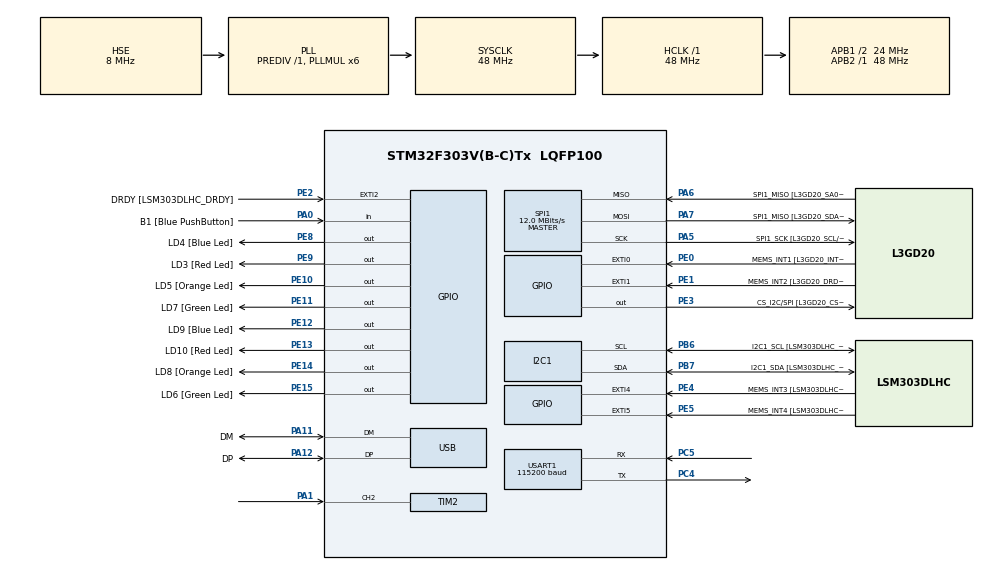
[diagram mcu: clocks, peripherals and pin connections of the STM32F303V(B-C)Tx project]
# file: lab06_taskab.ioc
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I2C1.Timing=0x00201D2B
I2C1.Timing-I2C=0x2000090E
Mcu.Family=STM32F3
Mcu.Name=STM32F303V(B-C)Tx
Mcu.Package=LQFP100
NVIC.PriorityGroup=NVIC_PRIORITYGROUP_0
NVIC.TIM2_IRQn=true\:0\:0\:false\:false\:true\:true\:true\:true
NVIC.USB_LP_CAN_RX0_IRQn=true\:0\:0\:false\:false\:true\:false\:true\:true
PA0.GPIO_Label=B1 [Blue PushButton]
PA0.Signal=GPIO_Input
PA1.GPIO_PuPd=GPIO_PULLUP
PA1.Signal=S_TIM2_CH2
PA11.GPIO_Label=DM
PA11.Mode=Device
PA11.Signal=USB_DM
PA12.GPIO_Label=DP
PA12.Mode=Device
PA12.Signal=USB_DP
PA13.GPIO_Label=SWDIO
PA13.Mode=Serial_Wire
PA13.Signal=SYS_JTMS-SWDIO
PA14.GPIO_Label=SWCLK
PA14.Mode=Serial_Wire
PA14.Signal=SYS_JTCK-SWCLK
PA5.GPIO_Label=SPI1_SCK [L3GD20_SCL/SPC]
PA5.Mode=Full_Duplex_Master
PA5.Signal=SPI1_SCK
PA6.GPIO_Label=SPI1_MISO [L3GD20_SA0/SDO]
PA6.Mode=Full_Duplex_Master
PA6.Signal=SPI1_MISO
PA7.GPIO_Label=SPI1_MISO [L3GD20_SDA/SDI/SDO]
PA7.Mode=Full_Duplex_Master
PA7.Signal=SPI1_MOSI
PB3.GPIO_Label=SWO
PB3.Signal=SYS_JTDO-TRACESWO
PB6.GPIO_Label=I2C1_SCL [LSM303DLHC_SCL]
PB6.GPIO_Pu=GPIO_PULLUP
PB6.Mode=I2C
PB6.Signal=I2C1_SCL
PB7.GPIO_Label=I2C1_SDA [LSM303DLHC_SDA]
PB7.GPIO_Pu=GPIO_PULLUP
PB7.Mode=I2C
PB7.Signal=I2C1_SDA
PC14-OSC32_IN.GPIO_Label=OSC32_IN
PC14-OSC32_IN.Signal=RCC_OSC32_IN
PC15-OSC32_OUT.GPIO_Label=OSC32_OUT
PC15-OSC32_OUT.Signal=RCC_OSC32_OUT
PC4.Mode=Asynchronous
PC4.Signal=USART1_TX
PC5.Mode=Asynchronous
PC5.Signal=USART1_RX
PE0.GPIO_Label=MEMS_INT1 [L3GD20_INT1]
PE0.GPIO_ModeDefaultEXTI=GPIO_MODE_EVT_RISING
PE0.Signal=GPXTI0
PE1.GPIO_Label=MEMS_INT2 [L3GD20_DRDY/INT2]
PE1.GPIO_ModeDefaultEXTI=GPIO_MODE_EVT_RISING
PE1.Signal=GPXTI1
PE10.GPIO_Label=LD5 [Orange Led]
PE10.Signal=GPIO_Output
PE11.GPIO_Label=LD7 [Green Led]
PE11.Signal=GPIO_Output
PE12.GPIO_Label=LD9 [Blue Led]
PE12.Signal=GPIO_Output
PE13.GPIO_Label=LD10 [Red Led]
PE13.Signal=GPIO_Output
PE14.GPIO_Label=LD8 [Orange Led]
PE14.Signal=GPIO_Output
PE15.GPIO_Label=LD6 [Green Led]
PE15.Signal=GPIO_Output
PE2.GPIO_Label=DRDY [LSM303DLHC_DRDY]
PE2.GPIO_ModeDefaultEXTI=GPIO_MODE_EVT_RISING
PE2.Signal=GPXTI2
PE3.GPIO_Label=CS_I2C/SPI [L3GD20_CS_I2C/SPI]
PE3.Signal=GPIO_Output
PE4.GPIO_Label=MEMS_INT3 [LSM303DLHC_INT1]
PE4.GPIO_ModeDefaultEXTI=GPIO_MODE_EVT_RISING
PE4.Signal=GPXTI4
PE5.GPIO_Label=MEMS_INT4 [LSM303DLHC_INT2]
PE5.GPIO_ModeDefaultEXTI=GPIO_MODE_EVT_RISING
PE5.Signal=GPXTI5
PE8.GPIO_Label=LD4 [Blue Led]
PE8.Signal=GPIO_Output
PE9.GPIO_Label=LD3 [Red Led]
PE9.Signal=GPIO_Output
PF0-OSC_IN.GPIO_Label=OSC_IN
PF0-OSC_IN.Mode=HSE-External-Clock-Source
PF0-OSC_IN.Signal=RCC_OSC_IN
PF1-OSC_OUT.GPIO_Label=OSC_OUT
PF1-OSC_OUT.Signal=RCC_OSC_OUT
ProjectManager.HeapSize=0x200
ProjectManager.StackSize=0x400
ProjectManager.TargetToolchain=CMake
RCC.AHBFreq_Value=48000000
RCC.APB1CLKDivider=RCC_HCLK_DIV2
RCC.APB1Freq_Value=24000000
RCC.APB1TimFreq_Value=48000000
RCC.APB2Freq_Value=48000000
RCC.APB2TimFreq_Value=48000000
RCC.CortexFreq_Value=48000000
RCC.HCLKFreq_Value=48000000
RCC.HSE_VALUE=8000000
RCC.HSI_VALUE=8000000
RCC.LSE_VALUE=32768
RCC.PLLMUL=RCC_PLL_MUL6
RCC.SYSCLKFreq_VALUE=48000000
RCC.SYSCLKSourceVirtual=RCC_SYSCLKSOURCE_PLLCLK
RCC.USBFreq_Value=48000000
SH.S_TIM2_CH2.0=TIM2_CH2,Input_Capture2_from_TI2
SPI1.BaudRatePrescaler=SPI_BAUDRATEPRESCALER_4
SPI1.BaudRatePrescaler-Full_Duplex_Master=SPI_BAUDRATEPRESCALER_2
SPI1.CalculateBaudRate=12.0 MBits/s
SPI1.CalculateBaudRate-Full_Duplex_Master=24.0 MBits/s
SPI1.Direction=SPI_DIRECTION_2LINES
SPI1.Mode=SPI_MODE_MASTER
SPI1.Mode-Full_Duplex_Master=SPI_MODE_MASTER
SPI1.VirtualType=VM_MASTER
TIM2.Channel-Input_Capture2_from_TI2=TIM_CHANNEL_2
TIM2.Prescaler=47
USART1.BaudRate=115200
USART1.VirtualMode-Asynchronous=VM_ASYNC
USB_DEVICE.CLASS_NAME_FS=CDC
USB_DEVICE.VirtualMode=Cdc
USB_DEVICE.VirtualModeFS=Cdc_FS
VP_USB_DEVICE_VS_USB_DEVICE_CDC_FS.Mode=CDC_FS
board=STM32F3DISCOVERY

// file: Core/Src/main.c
/* USER CODE BEGIN Header */
/**
  ******************************************************************************
  * @file           : main.c
  * @brief          : Main program body
  ******************************************************************************
  * @attention
  *
  * Copyright (c) 2025 STMicroelectronics.
  * All rights reserved.
  *
  * This software is licensed under terms that can be found in the LICENSE file
  * in the root directory of this software component.
  * If no LICENSE file comes with this software, it is provided AS-IS.
  *
  ******************************************************************************
  */
/* USER CODE END Header */
#include "main.h"
#include "usb_device.h"

I2C_HandleTypeDef hi2c1;

SPI_HandleTypeDef hspi1;

TIM_HandleTypeDef htim2;

UART_HandleTypeDef huart1;

/* USER CODE BEGIN PV */
uint32_t IC_Value1 = 0;
uint32_t IC_Value2 = 0;
uint32_t Difference = 0;
uint8_t Is_First_Captured = 0;
float Frequency = 0;
char msg[50];
/* USER CODE END PV */

void SystemClock_Config(void);
static void MX_GPIO_Init(void);
static void MX_I2C1_Init(void);
static void MX_SPI1_Init(void);
static void MX_TIM2_Init(void);
static void MX_USART1_UART_Init(void);

int main(void)
{

  /* MCU Configuration--------------------------------------------------------*/

  /* Reset of all peripherals, Initializes the Flash interface and the Systick. */
  HAL_Init();

  /* Configure the system clock */
  SystemClock_Config();MX_GPIO_Init();
  MX_I2C1_Init();
  MX_SPI1_Init();
  MX_TIM2_Init();
  MX_USART1_UART_Init();
  MX_USB_DEVICE_Init();
  /* USER CODE BEGIN 2 */
  HAL_TIM_IC_Start_IT(&htim2, TIM_CHANNEL_2);

  /* USER CODE END 2 */

  /* Infinite loop */
  while (1)
  {
    if (Frequency > 0)
    {
      snprintf(msg, sizeof(msg), "Frequency = %.2f Hz\r\n", Frequency);
      HAL_UART_Transmit(&huart1, (uint8_t*)msg, strlen(msg), HAL_MAX_DELAY);
      Frequency = 0;
    }
  }
}

void SystemClock_Config(void)
{
  RCC_OscInitTypeDef RCC_OscInitStruct = {0};
  RCC_ClkInitTypeDef RCC_ClkInitStruct = {0};
  RCC_PeriphCLKInitTypeDef PeriphClkInit = {0};

  /** Initializes the RCC Oscillators according to the specified parameters
  * in the RCC_OscInitTypeDef structure.
  */
  RCC_OscInitStruct.OscillatorType = RCC_OSCILLATORTYPE_HSI|RCC_OSCILLATORTYPE_HSE;
  RCC_OscInitStruct.HSEState = RCC_HSE_BYPASS;
  RCC_OscInitStruct.HSEPredivValue = RCC_HSE_PREDIV_DIV1;
  RCC_OscInitStruct.HSIState = RCC_HSI_ON;
  RCC_OscInitStruct.HSICalibrationValue = RCC_HSICALIBRATION_DEFAULT;
  RCC_OscInitStruct.PLL.PLLState = RCC_PLL_ON;
  RCC_OscInitStruct.PLL.PLLSource = RCC_PLLSOURCE_HSE;
  RCC_OscInitStruct.PLL.PLLMUL = RCC_PLL_MUL6;
  if (HAL_RCC_OscConfig(&RCC_OscInitStruct) != HAL_OK)
  {
    Error_Handler();
  }

  /** Initializes the CPU, AHB and APB buses clocks
  */
  RCC_ClkInitStruct.ClockType = RCC_CLOCKTYPE_HCLK|RCC_CLOCKTYPE_SYSCLK
                              |RCC_CLOCKTYPE_PCLK1|RCC_CLOCKTYPE_PCLK2;
  RCC_ClkInitStruct.SYSCLKSource = RCC_SYSCLKSOURCE_PLLCLK;
  RCC_ClkInitStruct.AHBCLKDivider = RCC_SYSCLK_DIV1;
  RCC_ClkInitStruct.APB1CLKDivider = RCC_HCLK_DIV2;
  RCC_ClkInitStruct.APB2CLKDivider = RCC_HCLK_DIV1;

  if (HAL_RCC_ClockConfig(&RCC_ClkInitStruct, FLASH_LATENCY_1) != HAL_OK)
  {
    Error_Handler();
  }
  PeriphClkInit.PeriphClockSelection = RCC_PERIPHCLK_USB|RCC_PERIPHCLK_USART1
                              |RCC_PERIPHCLK_I2C1;
  PeriphClkInit.Usart1ClockSelection = RCC_USART1CLKSOURCE_PCLK2;
  PeriphClkInit.I2c1ClockSelection = RCC_I2C1CLKSOURCE_HSI;
  PeriphClkInit.USBClockSelection = RCC_USBCLKSOURCE_PLL;
  if (HAL_RCCEx_PeriphCLKConfig(&PeriphClkInit) != HAL_OK)
  {
    Error_Handler();
  }
}

static void MX_I2C1_Init(void)
{

  hi2c1.Instance = I2C1;
  hi2c1.Init.Timing = 0x00201D2B;
  hi2c1.Init.OwnAddress1 = 0;
  hi2c1.Init.AddressingMode = I2C_ADDRESSINGMODE_7BIT;
  hi2c1.Init.DualAddressMode = I2C_DUALADDRESS_DISABLE;
  hi2c1.Init.OwnAddress2 = 0;
  hi2c1.Init.OwnAddress2Masks = I2C_OA2_NOMASK;
  hi2c1.Init.GeneralCallMode = I2C_GENERALCALL_DISABLE;
  hi2c1.Init.NoStretchMode = I2C_NOSTRETCH_DISABLE;
  if (HAL_I2C_Init(&hi2c1) != HAL_OK)
  {
    Error_Handler();
  }

  /** Configure Analogue filter
  */
  if (HAL_I2CEx_ConfigAnalogFilter(&hi2c1, I2C_ANALOGFILTER_ENABLE) != HAL_OK)
  {
    Error_Handler();
  }

  /** Configure Digital filter
  */
  if (HAL_I2CEx_ConfigDigitalFilter(&hi2c1, 0) != HAL_OK)
  {
    Error_Handler();
  }

}

static void MX_SPI1_Init(void)
{

  /* SPI1 parameter configuration*/
  hspi1.Instance = SPI1;
  hspi1.Init.Mode = SPI_MODE_MASTER;
  hspi1.Init.Direction = SPI_DIRECTION_2LINES;
  hspi1.Init.DataSize = SPI_DATASIZE_4BIT;
  hspi1.Init.CLKPolarity = SPI_POLARITY_LOW;
  hspi1.Init.CLKPhase = SPI_PHASE_1EDGE;
  hspi1.Init.NSS = SPI_NSS_SOFT;
  hspi1.Init.BaudRatePrescaler = SPI_BAUDRATEPRESCALER_4;
  hspi1.Init.FirstBit = SPI_FIRSTBIT_MSB;
  hspi1.Init.TIMode = SPI_TIMODE_DISABLE;
  hspi1.Init.CRCCalculation = SPI_CRCCALCULATION_DISABLE;
  hspi1.Init.CRCPolynomial = 7;
  hspi1.Init.CRCLength = SPI_CRC_LENGTH_DATASIZE;
  hspi1.Init.NSSPMode = SPI_NSS_PULSE_ENABLE;
  if (HAL_SPI_Init(&hspi1) != HAL_OK)
  {
    Error_Handler();
  }

}

static void MX_TIM2_Init(void)
{

  TIM_MasterConfigTypeDef sMasterConfig = {0};
  TIM_IC_InitTypeDef sConfigIC = {0};

  htim2.Instance = TIM2;
  htim2.Init.Prescaler = 47;
  htim2.Init.CounterMode = TIM_COUNTERMODE_UP;
  htim2.Init.Period = 4294967295;
  htim2.Init.ClockDivision = TIM_CLOCKDIVISION_DIV1;
  htim2.Init.AutoReloadPreload = TIM_AUTORELOAD_PRELOAD_DISABLE;
  if (HAL_TIM_IC_Init(&htim2) != HAL_OK)
  {
    Error_Handler();
  }
  sMasterConfig.MasterOutputTrigger = TIM_TRGO_RESET;
  sMasterConfig.MasterSlaveMode = TIM_MASTERSLAVEMODE_DISABLE;
  if (HAL_TIMEx_MasterConfigSynchronization(&htim2, &sMasterConfig) != HAL_OK)
  {
    Error_Handler();
  }
  sConfigIC.ICPolarity = TIM_INPUTCHANNELPOLARITY_RISING;
  sConfigIC.ICSelection = TIM_ICSELECTION_DIRECTTI;
  sConfigIC.ICPrescaler = TIM_ICPSC_DIV1;
  sConfigIC.ICFilter = 0;
  if (HAL_TIM_IC_ConfigChannel(&htim2, &sConfigIC, TIM_CHANNEL_2) != HAL_OK)
  {
    Error_Handler();
  }

}

static void MX_USART1_UART_Init(void)
{

  huart1.Instance = USART1;
  huart1.Init.BaudRate = 115200;
  huart1.Init.WordLength = UART_WORDLENGTH_8B;
  huart1.Init.StopBits = UART_STOPBITS_1;
  huart1.Init.Parity = UART_PARITY_NONE;
  huart1.Init.Mode = UART_MODE_TX_RX;
  huart1.Init.HwFlowCtl = UART_HWCONTROL_NONE;
  huart1.Init.OverSampling = UART_OVERSAMPLING_16;
  huart1.Init.OneBitSampling = UART_ONE_BIT_SAMPLE_DISABLE;
  huart1.AdvancedInit.AdvFeatureInit = UART_ADVFEATURE_NO_INIT;
  if (HAL_UART_Init(&huart1) != HAL_OK)
  {
    Error_Handler();
  }

}

static void MX_GPIO_Init(void)
{
  GPIO_InitTypeDef GPIO_InitStruct = {0};

  /* GPIO Ports Clock Enable */
  __HAL_RCC_GPIOE_CLK_ENABLE();
  __HAL_RCC_GPIOC_CLK_ENABLE();
  __HAL_RCC_GPIOF_CLK_ENABLE();
  __HAL_RCC_GPIOA_CLK_ENABLE();
  __HAL_RCC_GPIOB_CLK_ENABLE();

  /*Configure GPIO pin Output Level */
  HAL_GPIO_WritePin(GPIOE, CS_I2C_SPI_Pin|LD4_Pin|LD3_Pin|LD5_Pin
                          |LD7_Pin|LD9_Pin|LD10_Pin|LD8_Pin
                          |LD6_Pin, GPIO_PIN_RESET);

  /*Configure GPIO pins : DRDY_Pin MEMS_INT3_Pin MEMS_INT4_Pin MEMS_INT1_Pin
                           MEMS_INT2_Pin */
  GPIO_InitStruct.Pin = DRDY_Pin|MEMS_INT3_Pin|MEMS_INT4_Pin|MEMS_INT1_Pin
                          |MEMS_INT2_Pin;
  GPIO_InitStruct.Mode = GPIO_MODE_EVT_RISING;
  GPIO_InitStruct.Pull = GPIO_NOPULL;
  HAL_GPIO_Init(GPIOE, &GPIO_InitStruct);

  /*Configure GPIO pins : CS_I2C_SPI_Pin LD4_Pin LD3_Pin LD5_Pin
                           LD7_Pin LD9_Pin LD10_Pin LD8_Pin
                           LD6_Pin */
  GPIO_InitStruct.Pin = CS_I2C_SPI_Pin|LD4_Pin|LD3_Pin|LD5_Pin
                          |LD7_Pin|LD9_Pin|LD10_Pin|LD8_Pin
                          |LD6_Pin;
  GPIO_InitStruct.Mode = GPIO_MODE_OUTPUT_PP;
  GPIO_InitStruct.Pull = GPIO_NOPULL;
  GPIO_InitStruct.Speed = GPIO_SPEED_FREQ_LOW;
  HAL_GPIO_Init(GPIOE, &GPIO_InitStruct);

  /*Configure GPIO pin : B1_Pin */
  GPIO_InitStruct.Pin = B1_Pin;
  GPIO_InitStruct.Mode = GPIO_MODE_INPUT;
  GPIO_InitStruct.Pull = GPIO_NOPULL;
  HAL_GPIO_Init(B1_GPIO_Port, &GPIO_InitStruct);

}

/* USER CODE BEGIN 4 */
void HAL_TIM_IC_CaptureCallback(TIM_HandleTypeDef *htim)
{
    if (htim->Instance == TIM2 && htim->Channel == HAL_TIM_ACTIVE_CHANNEL_2)
    {
        if (Is_First_Captured == 0)
        {
            IC_Value1 = HAL_TIM_ReadCapturedValue(htim, TIM_CHANNEL_2);
            Is_First_Captured = 1;
        }
        else
        {
            IC_Value2 = HAL_TIM_ReadCapturedValue(htim, TIM_CHANNEL_2);
            if (IC_Value2 > IC_Value1)
                Difference = IC_Value2 - IC_Value1;
            else
                Difference = (0xFFFFFFFF - IC_Value1) + IC_Value2;

            // tick is 1 micros so frequency = 1000000/Difference
            Frequency = 1000000.0f / Difference;

            Is_First_Captured = 0; //reset for next measurement
        }
    }
}
/* USER CODE END 4 */

void Error_Handler(void)
{
  __disable_irq();
  while (1)
  {
  }
}
